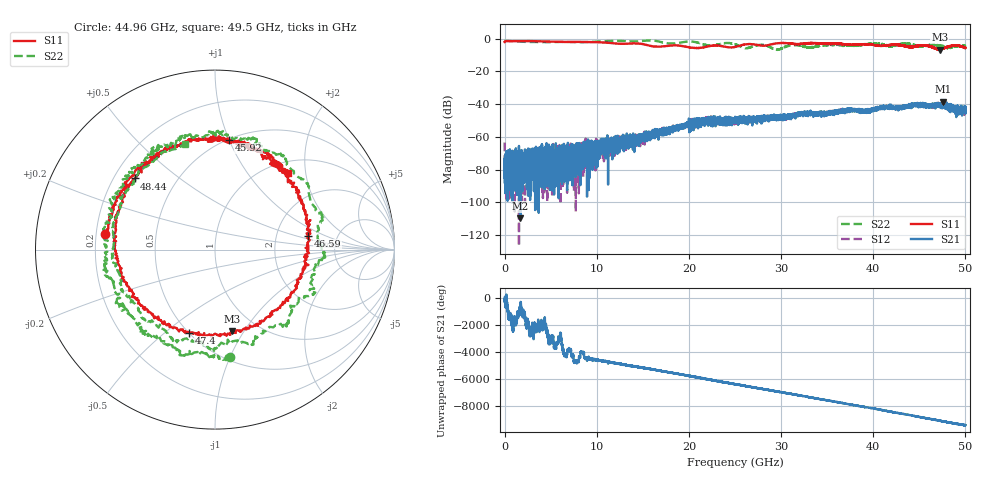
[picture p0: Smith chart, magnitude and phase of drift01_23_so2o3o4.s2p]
!Created with skrf (http://scikit-rf.org).
# Hz S RI R 50.0
!freq ReS11 ImS11 ReS21 ImS21 ReS12 ImS12 ReS22 ImS22
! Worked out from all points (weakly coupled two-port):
!   10001 points, 300 kHz to 50 GHz, reference 50 ohm
!   highest |S21| = -38.48 dB at 47.59 GHz (marker M1); lowest = -109.7 dB at 1.71 GHz (marker M2)
!   lowest |S11| = -6.7 dB at 47.21 GHz (marker M3), VSWR 2.73, Z = 38.3 - j44.3 ohm
!   |S11| at or under -10 dB: nowhere
!   |S22| runs from -6.8 to -1.0 dB; largest |S21 - S12| = 0.0044
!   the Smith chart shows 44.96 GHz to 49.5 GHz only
!   S11 on the Smith chart (normalised r, x): 44.96 GHz: 0.24, +0.07; 45.92 GHz: 0.51, +1.00; 46.59 GHz: 3.05, +0.66; 47.4 GHz: 0.50, -0.61; 48.44 GHz: 0.29, +0.35; 49.5 GHz: 1.22, +1.59
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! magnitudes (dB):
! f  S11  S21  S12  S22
! 300 kHz  -2.0  -75.2  -63.4  -1.3
! 255.3 MHz  -1.4  -79.6  -73.0  -1.4
! 1.71 GHz  -1.4  -109.7  -69.4  -1.8
! 6.24 GHz  -1.9  -73.9  -72.0  -1.9
! 8.335 GHz  -1.9  -68.0  -64.2  -2.1
! 16.67 GHz  -4.8  -57.5  -56.5  -1.6
! 21.51 GHz  -5.3  -50.7  -51.3  -3.3
! 25 GHz  -5.0  -50.2  -48.8  -3.4
! 28.12 GHz  -4.3  -49.4  -48.3  -3.8
! 29.52 GHz  -2.8  -48.9  -48.0  -6.7
! 31.27 GHz  -3.1  -45.8  -47.0  -4.0
! 33.34 GHz  -2.6  -45.1  -45.6  -5.3
! 41.67 GHz  -3.9  -41.7  -41.4  -4.6
! 44.96 GHz  -4.2  -39.6  -40.2  -4.3
! 45.92 GHz  -4.2  -41.2  -41.3  -4.0
! 46.59 GHz  -5.6  -40.0  -40.1  -3.7
! 47.21 GHz  -6.7  -39.6  -40.0  -4.5
! 47.4 GHz  -6.3  -41.3  -40.6  -4.6
! 47.59 GHz  -6.0  -38.5  -41.1  -4.8
! 48.44 GHz  -4.5  -42.4  -42.2  -5.2
! 49.5 GHz  -4.6  -42.4  -43.0  -4.2
! 50 GHz  -5.6  -43.8  -43.4  -4.2
